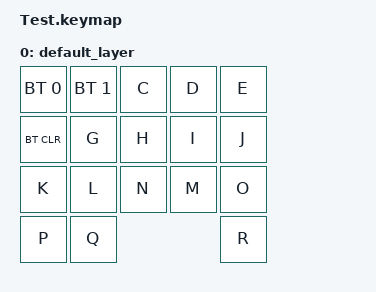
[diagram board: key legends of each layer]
#include <behaviors.dtsi>
#include <dt-bindings/zmk/keys.h>
#include <dt-bindings/zmk/mouse.h>
#include <dt-bindings/zmk/bt.h>

/ {
    keymap {
        compatible = "zmk,keymap";
        default_layer {
            bindings = <
                &bt BT_SEL 0    &bt BT_SEL 1    &kp C   &kp D   &kp E
                &bt BT_CLR      &kp G           &kp H   &kp I   &kp J
                &kp K           &kp L           &kp N   &kp M   &kp O
                &kp P           &kp Q                           &kp R
            >;
        };
    };
};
